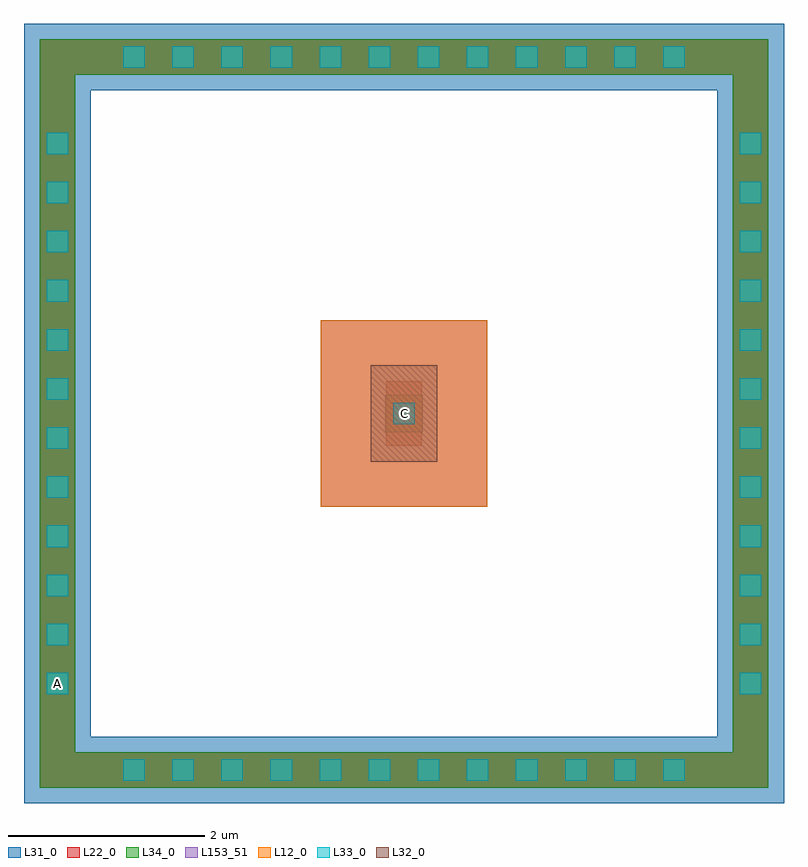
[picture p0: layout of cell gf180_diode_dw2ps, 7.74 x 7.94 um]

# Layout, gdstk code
import gdstk
lib = gdstk.Library(unit=1e-6, precision=1e-09)
def R(c, l, rs):  # rectangles x0, y0, x1, y1
    for r in rs: c.add(gdstk.rectangle(r[:2], r[2:], *l))
def A(c, l, x, y, w, h, nx, ny, dx, dy):  # array of equal rectangles
    R(c, l, [(x+i*dx, y+j*dy, x+i*dx+w, y+j*dy+h) for i in range(nx) for j in range(ny)])
def P(c, l, *ps):  # polygons
    for p in ps: c.add(gdstk.Polygon(p, *l))
L12_0 = (12, 0)
L22_0 = (22, 0)
L31_0 = (31, 0)
L32_0 = (32, 0)
L33_0 = (33, 0)
L34_0 = (34, 0)
L153_51 = (153, 51)

gf180_diode_dw2ps = lib.new_cell('gf180_diode_dw2ps')
R(gf180_diode_dw2ps, L12_0, [(0,0,1.7,1.9)])
R(gf180_diode_dw2ps, L22_0, [(0.67,0.62,1.03,1.28)])
P(gf180_diode_dw2ps, L22_0, [(-2.86,-2.86),(-2.86,4.4),(-2.5,4.4),(-2.5,-2.5),(4.2,-2.5),(4.2,4.4),(-2.86,4.4),(-2.86,4.76),(4.56,4.76),(4.56,-2.86)])
P(gf180_diode_dw2ps, L31_0, [(-3.02,-3.02),(-3.02,4.24),(-2.34,4.24),(-2.34,-2.34),(4.04,-2.34),(4.04,4.24),(-3.02,4.24),(-3.02,4.92),(4.72,4.92),(4.72,-3.02)])
R(gf180_diode_dw2ps, L32_0, [(0.51,0.46,1.19,1.44)])
A(gf180_diode_dw2ps, L33_0, -2.01, -2.79, 0.22, 0.22, 12, 2, 0.5, 7.26)
A(gf180_diode_dw2ps, L33_0, -2.79, -1.91, 0.22, 0.22, 1, 12, 0, 0.5)
A(gf180_diode_dw2ps, L33_0, 4.27, -1.91, 0.22, 0.22, 1, 12, 0, 0.5)
R(gf180_diode_dw2ps, L33_0, [(0.74,0.84,0.96,1.06)])
R(gf180_diode_dw2ps, L34_0, [(0.66,0.76,1.04,1.14)])
P(gf180_diode_dw2ps, L34_0, [(-2.86,-2.86),(-2.86,4.4),(-2.5,4.4),(-2.5,-2.5),(4.2,-2.5),(4.2,4.4),(-2.86,4.4),(-2.86,4.76),(4.56,4.76),(4.56,-2.86)])
R(gf180_diode_dw2ps, L153_51, [(0,0,1.7,1.9)])
gf180_diode_dw2ps.add(gdstk.Label('A', (-2.68,-1.8), layer=34, texttype=10))
gf180_diode_dw2ps.add(gdstk.Label('C', (0.85,0.95), layer=34, texttype=10))

lib.write_gds('gf180_diode_dw2ps.gds')
